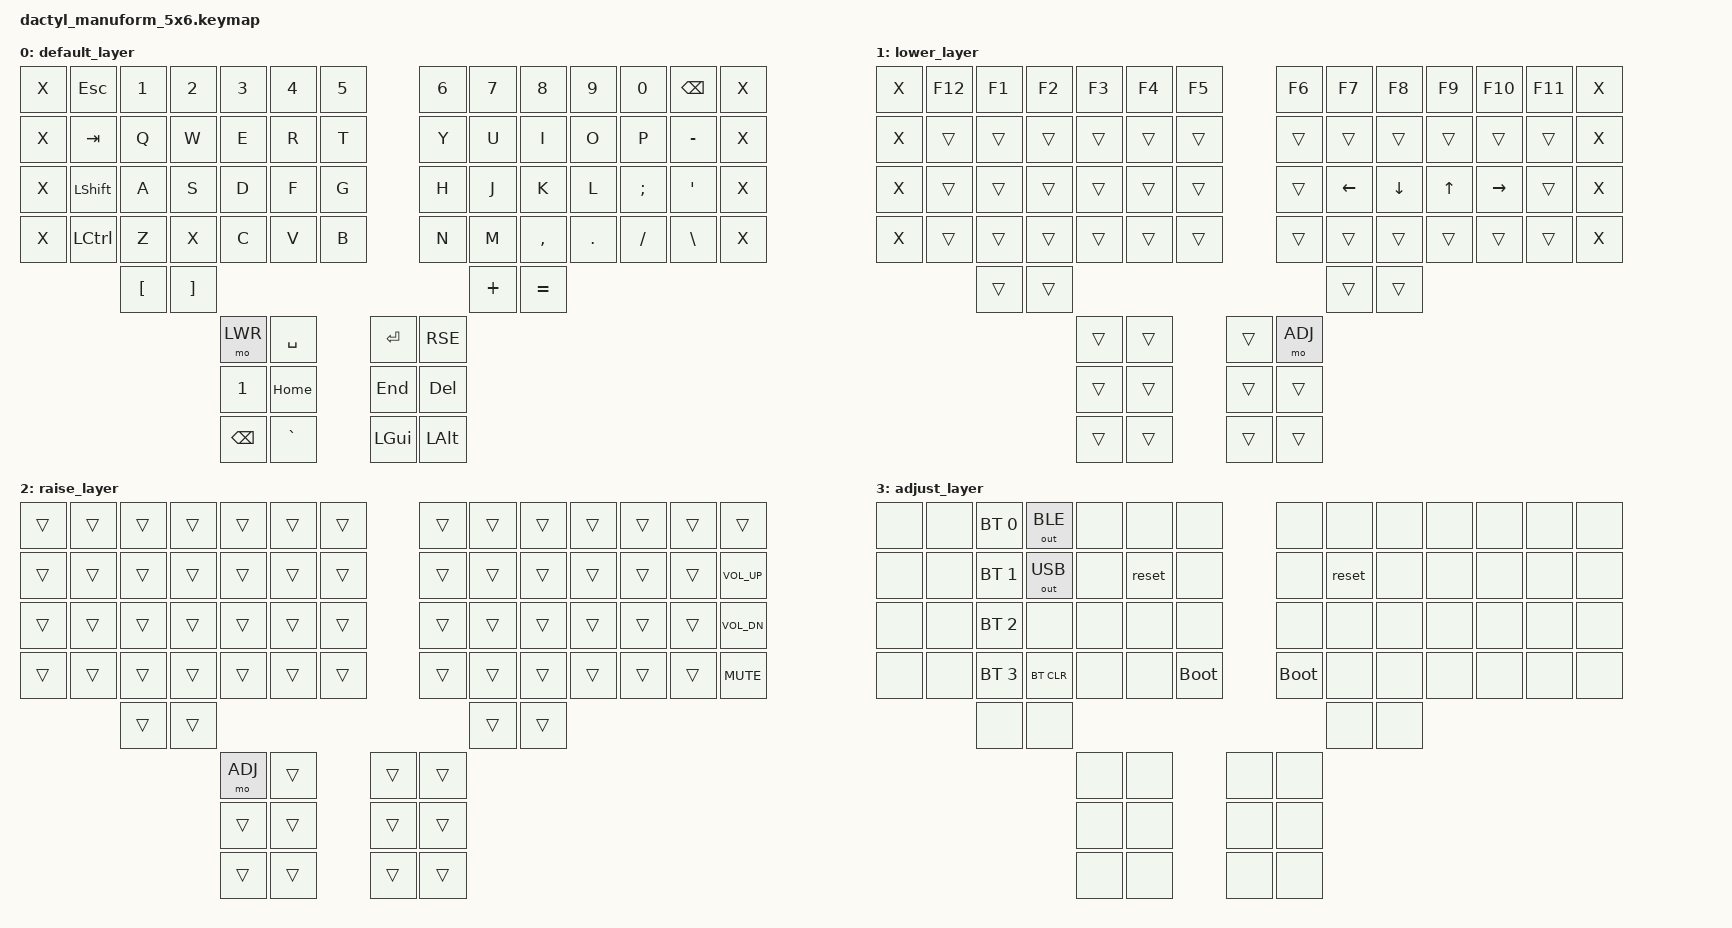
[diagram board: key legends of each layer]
#include <behaviors.dtsi>
#include <dt-bindings/zmk/keys.h>
#include <dt-bindings/zmk/bt.h>
#include <dt-bindings/zmk/outputs.h>

#define DEFAULT 0
#define LWR 1
#define RSE 2
#define ADJ 3

/ {
    keymap {
        compatible = "zmk,keymap";

        default_layer {
            bindings = <
                &kp X &kp ESC   &kp N1 &kp N2 &kp N3 &kp N4 &kp N5              &kp N6 &kp N7 &kp N8    &kp N9  &kp N0   &kp BSPC  &kp X
                &kp X &kp TAB   &kp Q  &kp W  &kp E  &kp R  &kp T               &kp Y  &kp U  &kp I     &kp O   &kp P    &kp MINUS &kp X
                &kp X &kp LSHFT &kp A  &kp S  &kp D  &kp F  &kp G               &kp H  &kp J  &kp K     &kp L   &kp SEMI &kp SQT   &kp X
                &kp X &kp LCTRL &kp Z  &kp X  &kp C  &kp V  &kp B               &kp N  &kp M  &kp COMMA &kp DOT &kp FSLH &kp BSLH  &kp X
                                 &kp LBKT &kp RBKT                                      &kp PLUS &kp EQUAL
                                            &mo LWR  &kp SPACE            &kp RET  &kp RSE
                                            &kp N1   &kp HOME             &kp END  &kp DEL
                                            &kp BSPC &kp GRAVE            &kp LGUI &kp LALT
            >;
        };

        lower_layer {
            bindings = <
                &kp X &kp F12 &kp F1 &kp F2 &kp F3 &kp F4 &kp F5                &kp F6 &kp F7   &kp F8   &kp F9 &kp F10   &kp F11 &kp X
                &kp X &trans  &trans &trans &trans &trans &trans                &trans &trans   &trans   &trans &trans    &trans  &kp X
                &kp X &trans  &trans &trans &trans &trans &trans                &trans &kp LEFT &kp DOWN &kp UP &kp RIGHT &trans  &kp X
                &kp X &trans  &trans &trans &trans &trans &trans                &trans &trans   &trans   &trans &trans    &trans  &kp X
                               &trans &trans                                              &trans &trans
                                             &trans &trans                &trans &mo ADJ
                                             &trans &trans                &trans &trans
                                             &trans &trans                &trans &trans
            >;
        };

        raise_layer {
            bindings = <
                &trans  &trans  &trans &trans &trans &trans &trans                &trans &trans &trans &trans &trans &trans &trans
                &trans  &trans  &trans &trans &trans &trans &trans                &trans &trans &trans &trans &trans &trans &kp K_VOL_UP
                &trans  &trans  &trans &trans &trans &trans &trans                &trans &trans &trans &trans &trans &trans &kp K_VOL_DN
                &trans  &trans  &trans &trans &trans &trans &trans                &trans &trans &trans &trans &trans &trans &kp K_MUTE
                               &trans &trans                                            &trans &trans
                                             &mo ADJ &trans               &trans &trans
                                             &trans  &trans               &trans &trans
                                             &trans  &trans               &trans &trans
            >;
        };

        adjust_layer {
            bindings = <
                &none &none &bt BT_SEL 0 &out OUT_BLE &none &none  &none            &none       &none  &none &none &none &none &none
                &none &none &bt BT_SEL 1 &out OUT_USB &none &reset &none            &none       &reset &none &none &none &none &none
                &none &none &bt BT_SEL 2 &none        &none &none  &none            &none       &none  &none &none &none &none &none
                &none &none &bt BT_SEL 3 &bt BT_CLR   &none &none  &bootloader      &bootloader &none  &none &none &none &none &none
                                   &none        &none                                            &none &none
                                                      &none &none             &none &none
                                                      &none &none             &none &none
                                                      &none &none             &none &none
            >;
        };
    };
};
